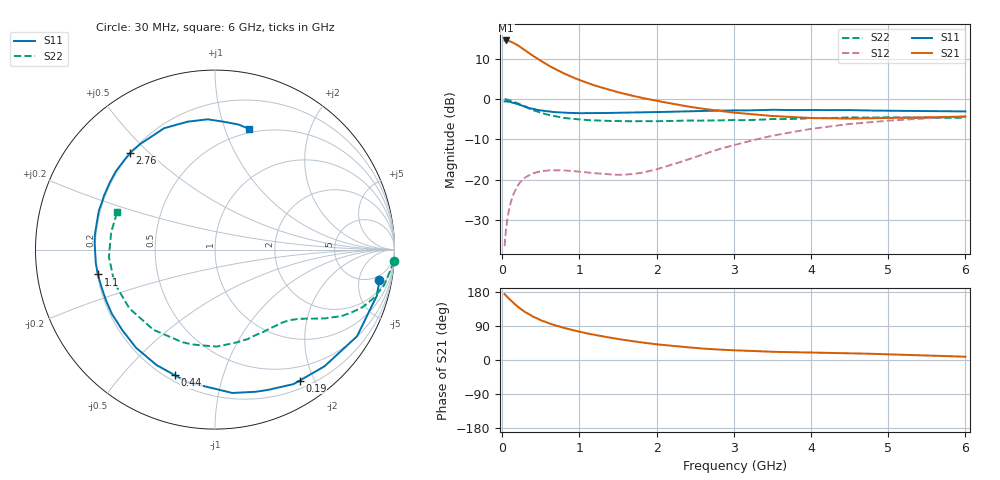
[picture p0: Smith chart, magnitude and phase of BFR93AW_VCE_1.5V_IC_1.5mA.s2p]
! Infineon Technologies  Discrete & RF Semiconductors
! BFR93AW
! VCE =  1.5 V,  IC =  1.5 mA
! Common Emitter S-Parameters:  Nov 2015
# GHz  S  MA  R  50
!  f  S11  S21  S12  S22
! GHz  MAG  ANG  MAG  ANG  MAG  ANG  MAG  ANG
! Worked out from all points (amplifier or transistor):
!   206 points, 30 MHz to 6 GHz, reference 50 ohm
!   highest |S21| = 14.5 dB at 50 MHz (marker M1)
!   |S21| within 3 dB of that: start of sweep to 336.8 MHz
!   unconditionally stable (mu >= 1): 1.289 GHz to 2.609 GHz; 5.096 GHz to end of sweep
!   at 200 MHz: K = 0.14, MSG = 17.4 dB, |S12| = -21.5 dB
!   at 1.56 GHz: K = 1.19, MAG = 7.5 dB, |S12| = -18.8 dB
!   at 6 GHz: K = 1.02, MAG = -0.9 dB, |S12| = -4.3 dB
!   S11 on the Smith chart (normalised r, x): 30 MHz: 4, -9; 190 MHz: 0.30, -1.80; 440 MHz: 0.23, -0.71; 1.1 GHz: 0.20, -0.10; 2.76 GHz: 0.20, +0.44; 6 GHz: 0.46, +1.21
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0.03  0.9318 -10.5  5.311 173.9  0.0149 83.4  0.9993 -3.8
0.05  0.9375 -15.9  5.314 169.4  0.025 81.2  0.9866 -6.1
0.1  0.9271 -31.4  5.192 159.3  0.048 71.9  0.963 -11.9
0.15  0.8916 -46.8  4.931 149.3  0.0675 63.8  0.9244 -17.0
0.19  0.869 -57.1  4.683 142.6  0.0806 58.7  0.8906 -20.4
0.24  0.8352 -69.5  4.361 134.5  0.0947 52.4  0.8455 -24.1
0.3  0.8046 -83.1  3.992 126.0  0.1066 46.1  0.7961 -27.7
0.4  0.7542 -101.8  3.414 114.2  0.1197 38.4  0.7248 -31.9
0.44  0.7349 -107.6  3.226 110.7  0.1224 36.0  0.7031 -33.1
0.5  0.7211 -116.8  2.97 104.8  0.1268 32.5  0.6711 -35.0
0.6  0.7018 -128.9  2.592 97.1  0.1298 28.6  0.6328 -37.4
0.7  0.6842 -139.1  2.31 90.6  0.1305 26.1  0.6051 -39.6
0.8  0.6769 -148.1  2.069 84.6  0.13 24.4  0.5816 -42.1
1.04  0.6655 -164.5  1.662 72.8  0.1241 24.1  0.5521 -47.7
1.1  0.6669 -168.0  1.583 70.0  0.1224 24.3  0.5466 -49.5
1.5  0.6744 173.0  1.209 55.4  0.1145 34.5  0.5316 -60.4
2.02  0.6878 153.5  0.94 40.9  0.1358 54.7  0.5311 -77.0
2.76  0.7158 131.4  0.722 28.1  0.2302 65.1  0.5415 -101.9
3.1  0.7206 122.5  0.664 24.9  0.283 63.3  0.546 -113.1
4.1  0.7271 100.2  0.578 19.2  0.4368 49.8  0.5771 -148.7
5.1  0.712 84.5  0.581 14.6  0.544 33.7  0.5887 -178.7
6  0.6993 74.2  0.604 8.6  0.6064 21.4  0.5841 158.7
